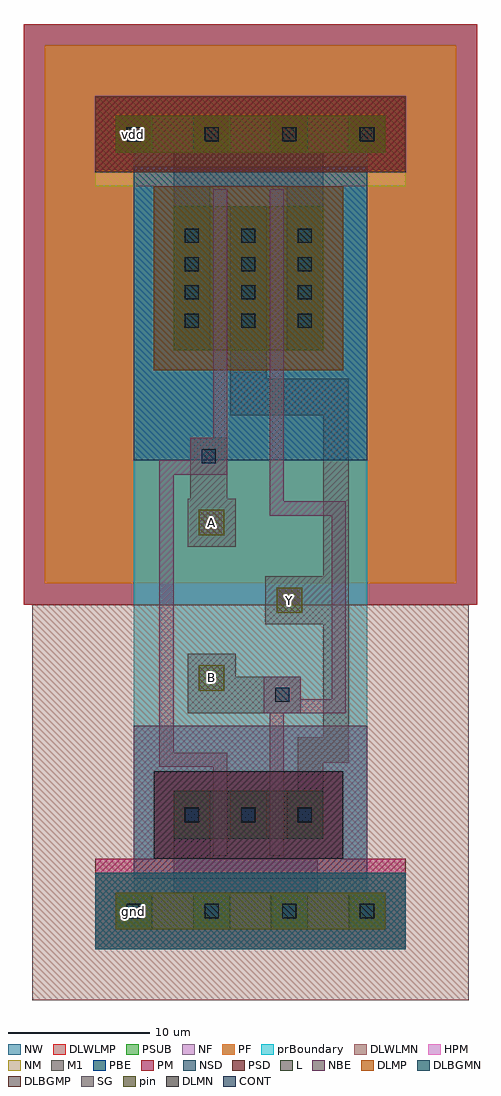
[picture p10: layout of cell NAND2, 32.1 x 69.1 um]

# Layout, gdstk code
import gdstk
lib = gdstk.Library(unit=1e-6, precision=1e-09)
def R(c, l, rs):  # rectangles x0, y0, x1, y1
    for r in rs: c.add(gdstk.rectangle(r[:2], r[2:], *l))
def A(c, l, x, y, w, h, nx, ny, dx, dy):  # array of equal rectangles
    R(c, l, [(x+i*dx, y+j*dy, x+i*dx+w, y+j*dy+h) for i in range(nx) for j in range(ny)])
def P(c, l, *ps):  # polygons
    for p in ps: c.add(gdstk.Polygon(p, *l))
L = (3, 0)
NM = (7, 0)
SG = (8, 0)
PSD = (9, 0)
CONT = (11, 0)
M1 = (13, 0)
NF = (25, 0)
PF = (26, 0)
NSD = (28, 0)
HPM = (33, 0)
PM = (35, 0)
NW = (36, 0)
pin = (48, 1)
PSUB = (140, 0)
PBE = (146, 0)
NBE = (147, 0)
DLWLMP = (150, 0)
DLWLMN = (151, 0)
DLMP = (157, 0)
DLMN = (158, 0)
DLBGMP = (177, 0)
DLBGMN = (178, 0)
prBoundary = (235, 0)

nand2 = lib.new_cell('NAND2')
A(nand2, L, -1.3, -1.3, 2.6, 2.6, 4, 2, 5.5, 55)
R(nand2, L, [(2.8,5.1,13.4,8.5), (2.8,39.7,13.4,49.9)])
R(nand2, NM, [(-2.75,-2.7,19.25,2.7)])
P(nand2, NM, [(1.4,38.3),(1.4,51.3),(-2.75,51.3),(-2.75,57.7),(19.25,57.7),(19.25,51.3),(14.8,51.3),(14.8,38.3)])
P(nand2, SG, [(5.6,3.9),(5.6,10.2),(1.8,10.2),(1.8,31.9),(4,31.9),(4,33.5),(5.6,33.5),(5.6,51.1),(6.6,51.1),(6.6,30.9),(2.8,30.9),(2.8,11.2),(6.6,11.2),(6.6,3.9)],
  [(9.6,3.9),(9.6,14),(9.2,14),(9.2,16.6),(11.8,16.6),(11.8,15),(14,15),(14,28),(9.6,28),(9.6,51.1),(10.6,51.1),(10.6,29),(15,29),(15,14),(10.6,14),(10.6,3.9)])
R(nand2, PSD, [(1.4,3.7,14.8,9.9), (-2.75,52.3,19.25,57.7)])
A(nand2, CONT, -0.5, -0.5, 1, 1, 4, 2, 5.5, 55)
A(nand2, CONT, 11.6, 41.3, 1, 1, 1, 4, 0, 2)
R(nand2, CONT, [(3.6,6.3,4.6,7.3), (7.6,6.3,8.6,7.3), (7.6,6.3,8.6,7.3), (11.6,6.3,12.6,7.3), (10,14.8,11,15.8), (4.8,31.7,5.8,32.7), (3.6,41.3,4.6,42.3), (3.6,41.3,4.6,42.3), (3.6,41.3,4.6,42.3), (7.6,41.3,8.6,42.3), (7.6,41.3,8.6,42.3), (7.6,41.3,8.6,42.3), (7.6,41.3,8.6,42.3), (3.6,43.3,4.6,44.3), (3.6,43.3,4.6,44.3), (3.6,43.3,4.6,44.3), (7.6,43.3,8.6,44.3), (7.6,43.3,8.6,44.3), (7.6,43.3,8.6,44.3), (7.6,43.3,8.6,44.3), (3.6,45.3,4.6,46.3), (3.6,45.3,4.6,46.3), (3.6,45.3,4.6,46.3), (7.6,45.3,8.6,46.3), (7.6,45.3,8.6,46.3), (7.6,45.3,8.6,46.3), (7.6,45.3,8.6,46.3), (3.6,47.3,4.6,48.3), (3.6,47.3,4.6,48.3), (3.6,47.3,4.6,48.3), (7.6,47.3,8.6,48.3), (7.6,47.3,8.6,48.3), (7.6,47.3,8.6,48.3), (7.6,47.3,8.6,48.3)])
R(nand2, M1, [(6.8,5.1,9.4,8.5)])
P(nand2, M1, [(-1.3,-1.3),(-1.3,1.3),(2.8,1.3),(2.8,8.5),(5.4,8.5),(5.4,3.7),(13,3.7),(13,1.3),(17.8,1.3),(17.8,-1.3)],
  [(3.8,14),(3.8,18.2),(7.2,18.2),(7.2,16.6),(11.8,16.6),(11.8,14)],
  [(3.8,25.8),(3.8,29.2),(4,29.2),(4,33.5),(6.6,33.5),(6.6,29.2),(7.2,29.2),(7.2,25.8)],
  [(10.8,5.1),(10.8,8.5),(11.6,8.5),(11.6,12.3),(13.4,12.3),(13.4,20.3),(9.3,20.3),(9.3,23.7),(13.4,23.7),(13.4,35.1),(6.8,35.1),(6.8,49.9),(9.4,49.9),(9.4,37.7),(15.2,37.7),(15.2,10.5),(13.4,10.5),(13.4,5.1)],
  [(2.8,39.7),(2.8,53.7),(-1.3,53.7),(-1.3,56.3),(17.8,56.3),(17.8,53.7),(13.4,53.7),(13.4,39.7),(10.8,39.7),(10.8,51.3),(5.4,51.3),(5.4,39.7)])
R(nand2, NF, [(-6.3,23.2,22.8,61.3)])
R(nand2, PF, [(-6.3,23.2,22.8,61.3)])
R(nand2, NSD, [(-2.75,-2.7,19.25,2.7), (1.4,38.3,14.8,51.3)])
P(nand2, HPM, [(-2.75,-2.7),(-2.75,3.7),(1.4,3.7),(1.4,9.9),(14.8,9.9),(14.8,3.7),(19.25,3.7),(19.25,-2.7)],
  [(1.4,38.3),(1.4,51.3),(-2.75,51.3),(-2.75,57.7),(19.25,57.7),(19.25,51.3),(14.8,51.3),(14.8,38.3)])
R(nand2, PM, [(-2.75,52.3,19.25,57.7)])
P(nand2, PM, [(-2.75,-2.7),(-2.75,3.7),(1.4,3.7),(1.4,9.9),(14.8,9.9),(14.8,3.7),(19.25,3.7),(19.25,-2.7)])
R(nand2, NW, [(-7.8,21.7,24.3,62.8)])
R(nand2, pin, [(-1.3,-1.3,17.8,1.3), (4.6,15.6,6.4,17.4), (10.1,21.1,11.9,22.9), (4.6,26.6,6.4,28.4), (-1.3,53.7,17.8,56.3)])
R(nand2, PSUB, [(-6.3,23.2,22.8,61.3)])
R(nand2, PBE, [(0,31.9,16.5,52.7)])
R(nand2, NBE, [(0,2.3,16.5,13.1)])
R(nand2, DLWLMP, [(-7.8,21.7,24.3,62.8)])
R(nand2, DLWLMN, [(-7.2,-6.3,23.7,21.7)])
R(nand2, DLMP, [(1.4,38.3,14.8,51.3)])
R(nand2, DLMN, [(1.4,3.7,14.8,9.9)])
R(nand2, DLBGMP, [(-2.75,52.3,19.25,57.7)])
R(nand2, DLBGMN, [(-2.75,-2.7,19.25,2.7)])
R(nand2, prBoundary, [(0,0,16.5,55)])
nand2.add(gdstk.Label('gnd', (0,0), layer=48, texttype=0))
nand2.add(gdstk.Label('Y', (11,22), layer=48, texttype=0))
nand2.add(gdstk.Label('B', (5.5,16.5), layer=48, texttype=0))
nand2.add(gdstk.Label('A', (5.5,27.5), layer=48, texttype=0))
nand2.add(gdstk.Label('vdd', (0,55), layer=48, texttype=0))

lib.write_gds('NAND2.gds')
